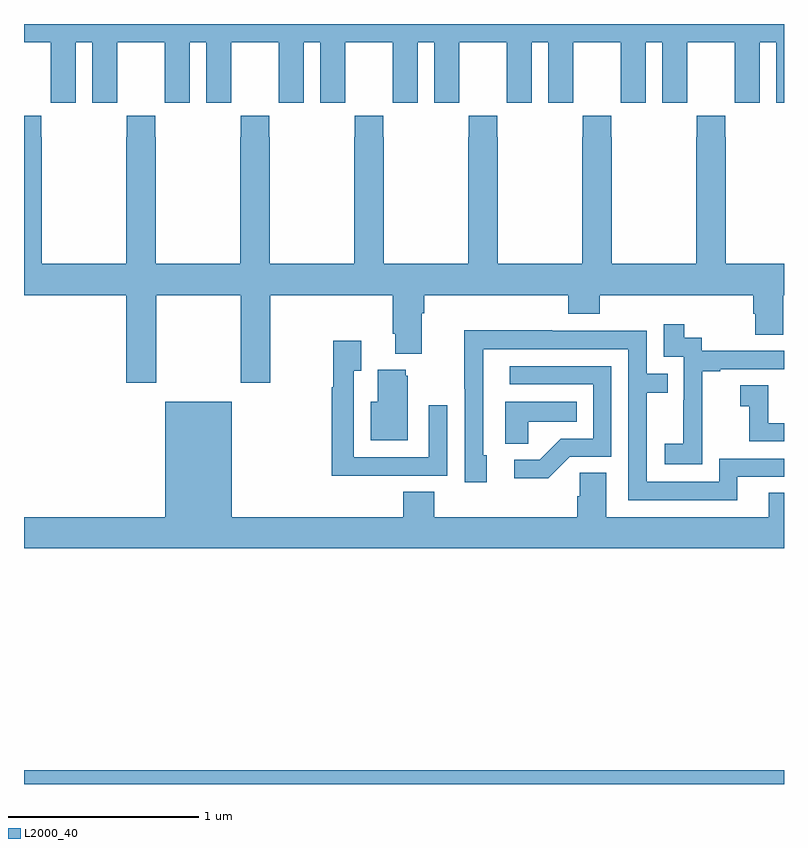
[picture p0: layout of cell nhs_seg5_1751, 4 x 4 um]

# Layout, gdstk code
import gdstk
lib = gdstk.Library(unit=1e-6, precision=1e-09)
def R(c, l, rs):  # rectangles x0, y0, x1, y1
    for r in rs: c.add(gdstk.rectangle(r[:2], r[2:], *l))
def P(c, l, *ps):  # polygons
    for p in ps: c.add(gdstk.Polygon(p, *l))
L2000_40 = (2000, 40)

nhs_seg5_1751 = lib.new_cell('nhs_seg5_1751')
R(nhs_seg5_1751, L2000_40, [(215,908.799,219,908.872)])
P(nhs_seg5_1751, L2000_40, [(215.272,912.704),(215.36,912.704),(215.36,912.384),(215.49,912.384),(215.49,912.496),(215.491,912.496),(215.491,912.704),(215.741,912.704),(215.741,912.496),(215.742,912.496),(215.742,912.384),(215.872,912.384),(215.872,912.704),(215.96,912.704),(215.96,912.384),(216.09,912.384),(216.09,912.496),(216.091,912.496),(216.091,912.704),(216.341,912.704),(216.341,912.496),(216.342,912.496),(216.342,912.384),(216.472,912.384),(216.472,912.704),(216.56,912.704),(216.56,912.384),(216.69,912.384),(216.69,912.496),(216.691,912.496),(216.691,912.704),(216.941,912.704),(216.941,912.496),(216.942,912.496),(216.942,912.384),(217.072,912.384),(217.072,912.704),(217.16,912.704),(217.16,912.384),(217.29,912.384),(217.29,912.496),(217.291,912.496),(217.291,912.704),(217.541,912.704),(217.541,912.496),(217.542,912.496),(217.542,912.384),(217.672,912.384),(217.672,912.704),(217.76,912.704),(217.76,912.384),(217.89,912.384),(217.89,912.496),(217.891,912.496),(217.891,912.704),(218.141,912.704),(218.141,912.496),(218.142,912.496),(218.142,912.384),(218.272,912.384),(218.272,912.704),(218.36,912.704),(218.36,912.384),(218.49,912.384),(218.49,912.496),(218.491,912.496),(218.491,912.704),(218.741,912.704),(218.741,912.496),(218.742,912.496),(218.742,912.384),(218.872,912.384),(218.872,912.704),(218.96,912.704),(218.96,912.384),(219,912.384),(219,912.799),(215,912.799),(215,912.704),(215.141,912.704),(215.141,912.496),(215.142,912.496),(215.142,912.384),(215.272,912.384)],
  [(218.691,912.203),(218.691,912.316),(218.541,912.316),(218.541,912.203),(218.539,912.203),(218.539,911.536),(218.094,911.536),(218.094,912.203),(218.091,912.203),(218.091,912.316),(217.941,912.316),(217.941,912.203),(217.939,912.203),(217.939,911.536),(217.494,911.536),(217.494,912.203),(217.491,912.203),(217.491,912.316),(217.341,912.316),(217.341,912.203),(217.339,912.203),(217.339,911.536),(216.894,911.536),(216.894,912.203),(216.891,912.203),(216.891,912.316),(216.741,912.316),(216.741,912.203),(216.739,912.203),(216.739,911.536),(216.294,911.536),(216.294,912.203),(216.291,912.203),(216.291,912.316),(216.141,912.316),(216.141,912.203),(216.139,912.203),(216.139,911.536),(215.694,911.536),(215.694,912.203),(215.691,912.203),(215.691,912.316),(215.541,912.316),(215.541,912.203),(215.539,912.203),(215.539,911.536),(215.094,911.536),(215.094,912.203),(215.091,912.203),(215.091,912.316),(215,912.316),(215,911.372),(215.537,911.372),(215.537,910.911),(215.697,910.911),(215.697,911.372),(216.142,911.372),(216.142,910.911),(216.297,910.911),(216.297,911.372),(216.941,911.372),(216.941,911.17),(216.953,911.17),(216.953,911.063),(217.093,911.063),(217.093,911.276),(217.106,911.276),(217.106,911.372),(217.865,911.372),(217.865,911.273),(218.03,911.273),(218.03,911.372),(218.837,911.372),(218.837,911.274),(218.849,911.274),(218.849,911.164),(218.997,911.164),(218.997,911.372),(219,911.372),(219,911.536),(218.694,911.536),(218.694,912.203)],
  [(218.571,910.687),(218.57,910.687),(218.57,910.971),(218.665,910.971),(218.665,910.983),(219,910.983),(219,911.079),(218.568,911.079),(218.568,911.148),(218.476,911.148),(218.476,911.218),(218.367,911.218),(218.367,911.049),(218.472,911.049),(218.472,910.82),(218.471,910.82),(218.471,910.591),(218.373,910.591),(218.373,910.481),(218.571,910.481)],
  [(218.755,910.416),(219,910.416),(219,910.512),(218.658,910.512),(218.658,910.389),(218.277,910.389),(218.277,910.858),(218.387,910.858),(218.387,910.959),(218.277,910.959),(218.277,911.184),(217.781,911.184),(217.781,911.186),(217.318,911.186),(217.318,910.879),(217.32,910.879),(217.32,910.386),(217.435,910.386),(217.435,910.53),(217.416,910.53),(217.416,911.088),(218.181,911.088),(218.181,910.293),(218.755,910.293)],
  [(216.911,910.422),(217.227,910.422),(217.227,910.792),(217.131,910.792),(217.131,910.518),(216.735,910.518),(216.735,910.975),(216.775,910.975),(216.775,911.131),(216.627,911.131),(216.627,910.886),(216.619,910.886),(216.619,910.421),(216.911,910.421)],
  [(217.872,910.521),(218.091,910.521),(218.091,910.998),(217.557,910.998),(217.557,910.902),(217.995,910.902),(217.995,910.617),(217.826,910.617),(217.715,910.506),(217.581,910.506),(217.581,910.409),(217.759,910.409)],
  [(217.021,910.947),(217.01,910.947),(217.01,910.978),(216.863,910.978),(216.863,910.81),(216.824,910.81),(216.824,910.607),(217.021,910.607)],
  [(219,910.698),(218.916,910.698),(218.916,910.897),(218.769,910.897),(218.769,910.787),(218.818,910.787),(218.818,910.602),(219,910.602)],
  [(217.653,910.706),(217.91,910.706),(217.91,910.81),(217.532,910.81),(217.532,910.591),(217.653,910.591)],
  [(219,910.331),(218.921,910.331),(218.921,910.204),(218.065,910.204),(218.065,910.436),(217.926,910.436),(217.926,910.313),(217.913,910.313),(217.913,910.204),(217.16,910.204),(217.16,910.337),(216.995,910.337),(216.995,910.204),(216.094,910.204),(216.094,910.81),(215.744,910.81),(215.744,910.204),(215,910.204),(215,910.04),(219,910.04)])

lib.write_gds('nhs_seg5_1751.gds')
